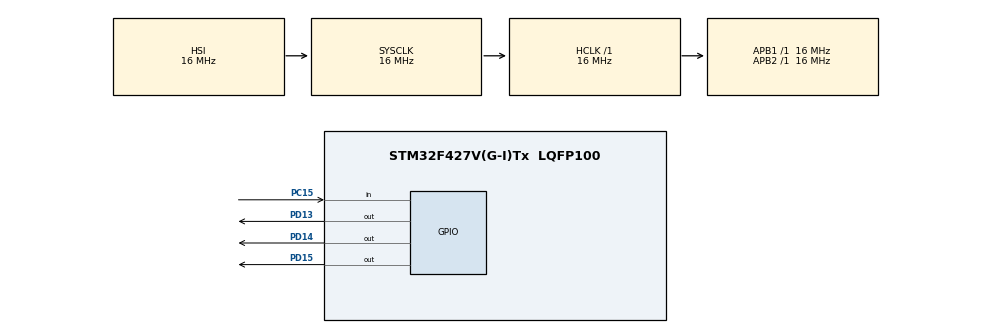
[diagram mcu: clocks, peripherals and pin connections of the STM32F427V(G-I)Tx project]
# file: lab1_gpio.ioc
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Mcu.Family=STM32F4
Mcu.Name=STM32F427V(G-I)Tx
Mcu.Package=LQFP100
NVIC.PriorityGroup=NVIC_PRIORITYGROUP_4
PA13.Mode=JTAG_5_pins
PA13.Signal=SYS_JTMS-SWDIO
PA14.Mode=JTAG_5_pins
PA14.Signal=SYS_JTCK-SWCLK
PA15.Mode=JTAG_5_pins
PA15.Signal=SYS_JTDI
PB3.Mode=JTAG_5_pins
PB3.Signal=SYS_JTDO-SWO
PB4.Mode=JTAG_5_pins
PB4.Signal=SYS_JTRST
PC15/OSC32_OUT.Signal=GPIO_Input
PD13.Signal=GPIO_Output
PD14.Signal=GPIO_Output
PD15.Signal=GPIO_Output
PH0/OSC_IN.Mode=HSE-External-Oscillator
PH0/OSC_IN.Signal=RCC_OSC_IN
PH1/OSC_OUT.Mode=HSE-External-Oscillator
PH1/OSC_OUT.Signal=RCC_OSC_OUT
ProjectManager.HeapSize=0x200
ProjectManager.StackSize=0x400
ProjectManager.TargetToolchain=STM32CubeIDE
RCC.AHBFreq_Value=16000000
RCC.APB1Freq_Value=16000000
RCC.APB2Freq_Value=16000000
RCC.CortexFreq_Value=16000000
RCC.HSE_VALUE=25000000
RCC.HSI_VALUE=16000000
RCC.LSE_VALUE=32768
RCC.SYSCLKFreq_VALUE=16000000
RCC.VCOOutputFreq_Value=192000000
board=custom

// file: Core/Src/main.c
/* USER CODE BEGIN Header */
/**
  ******************************************************************************
  * @file           : main.c
  * @brief          : Main program body
  ******************************************************************************
  * @attention
  *
  * <h2><center>&copy; Copyright (c) 2021 STMicroelectronics.
  * All rights reserved.</center></h2>
  *
  * This software component is licensed by ST under BSD 3-Clause license,
  * the "License"; You may not use this file except in compliance with the
  * License. You may obtain a copy of the License at:
  *                        opensource.org/licenses/BSD-3-Clause
  *
  ******************************************************************************
  */
/* USER CODE END Header */
#include "main.h"
#include "gpio.h"

/* USER CODE BEGIN Includes */
#include "gpioutil.h"
/* USER CODE END Includes */

void SystemClock_Config(void);

/* USER CODE BEGIN 0 */

void setupPassword(uint16_t *password) {
    password[0] = 1;
    password[1] = 0;
    password[2] = 1;
    password[3] = 1;
    password[4] = 0;
    password[5] = 1;
    password[6] = 0;
    password[7] = 1;
}

void block(
        uint16_t *current_position,
        uint16_t *is_pushed_down,
        uint16_t *block_times
) {
    *current_position = 0;
    *is_pushed_down = 0;
    (*block_times)++;
    if (*block_times < 3) {
        blink(PIN_RED, 250, 3);
    } else {
        *block_times = 0;
        blink(PIN_RED, 350, 10);
    }
}

void checkBtn(
        uint16_t btn_input,
        uint16_t *current_position,
        uint16_t *password,
        uint16_t *block_times,
        uint16_t *is_pushed_down
) {
    if (btn_input == password[*current_position]) {
        (*current_position)++;
        if (*current_position == 8) {
            *current_position = 0;
            *block_times = 0;
            blink(PIN_GREEN, 350, 10);
        } else {
            blink(PIN_YELLOW, 250, 3);
        }
    } else {
        block(current_position, is_pushed_down, block_times);
    }
}

uint16_t checkTime(
        uint32_t push_down_timestamp,
        uint32_t pull_up_timestamp,
        uint32_t long_push_time_ms
) {
    return (pull_up_timestamp - push_down_timestamp >= long_push_time_ms) ? 1 : 0;
}

/* USER CODE END 0 */

int main(void) {

    /* MCU Configuration--------------------------------------------------------*/

    /* Reset of all peripherals, Initializes the Flash interface and the Systick. */
    HAL_Init();

    /* Configure the system clock */
    SystemClock_Config();

    /* Initialize all configured peripherals */
    MX_GPIO_Init();

    /* USER CODE BEGIN 2 */
    uint16_t password[8]; // 1 - long, 0 - short
    setupPassword(password);
    uint16_t btn_input;

    uint16_t current_position = 0;
    uint16_t block_times = 0;
    uint16_t is_pressed = 0;

    uint32_t press_timestamp;
    uint32_t release_timestamp;
    uint32_t short_press_time_ms = 100;
    uint32_t long_press_time_ms = 1000;
    blink(PIN_GREEN, 250, 5);

    /* USER CODE END 2 */

    /* Infinite loop */
    /* USER CODE BEGIN WHILE */
    GPIO_PinState btn_state;
    while (1) {
        btn_state = HAL_GPIO_ReadPin(GPIOC, GPIO_PIN_15);
        if (btn_state == GPIO_PIN_SET && current_position > 0 &&
            checkTime(release_timestamp, HAL_GetTick(), 5000) == 1) {
            block(&current_position, &is_pressed, &block_times);
        }
        if (is_pressed && btn_state == GPIO_PIN_SET) {
            release_timestamp = HAL_GetTick();
            btn_input = checkTime(press_timestamp, release_timestamp, long_press_time_ms);
            is_pressed = 0;
            checkBtn(btn_input, &current_position, password, &block_times, &is_pressed);
        }
        if (!is_pressed && btn_state == GPIO_PIN_RESET) {
            press_timestamp = HAL_GetTick();
            wait(short_press_time_ms); // debounce
            btn_state = HAL_GPIO_ReadPin(GPIOC, GPIO_PIN_15); // debounce
            is_pressed = btn_state == GPIO_PIN_RESET;
        }
    }
    /* USER CODE END WHILE */

}

void SystemClock_Config(void) {
    RCC_OscInitTypeDef RCC_OscInitStruct = {0};
    RCC_ClkInitTypeDef RCC_ClkInitStruct = {0};

    /** Configure the main internal regulator output voltage
    */
    __HAL_RCC_PWR_CLK_ENABLE();
    __HAL_PWR_VOLTAGESCALING_CONFIG(PWR_REGULATOR_VOLTAGE_SCALE3);
    /** Initializes the RCC Oscillators according to the specified parameters
    * in the RCC_OscInitTypeDef structure.
    */
    RCC_OscInitStruct.OscillatorType = RCC_OSCILLATORTYPE_HSI;
    RCC_OscInitStruct.HSIState = RCC_HSI_ON;
    RCC_OscInitStruct.HSICalibrationValue = RCC_HSICALIBRATION_DEFAULT;
    RCC_OscInitStruct.PLL.PLLState = RCC_PLL_NONE;
    if (HAL_RCC_OscConfig(&RCC_OscInitStruct) != HAL_OK) {
        Error_Handler();
    }
    /** Initializes the CPU, AHB and APB buses clocks
    */
    RCC_ClkInitStruct.ClockType = RCC_CLOCKTYPE_HCLK | RCC_CLOCKTYPE_SYSCLK
                                  | RCC_CLOCKTYPE_PCLK1 | RCC_CLOCKTYPE_PCLK2;
    RCC_ClkInitStruct.SYSCLKSource = RCC_SYSCLKSOURCE_HSI;
    RCC_ClkInitStruct.AHBCLKDivider = RCC_SYSCLK_DIV1;
    RCC_ClkInitStruct.APB1CLKDivider = RCC_HCLK_DIV1;
    RCC_ClkInitStruct.APB2CLKDivider = RCC_HCLK_DIV1;

    if (HAL_RCC_ClockConfig(&RCC_ClkInitStruct, FLASH_LATENCY_0) != HAL_OK) {
        Error_Handler();
    }
}

void Error_Handler(void) {
    __disable_irq();
    while (1) {
    }
}

/************************ (C) COPYRIGHT STMicroelectronics *****END OF FILE****/
